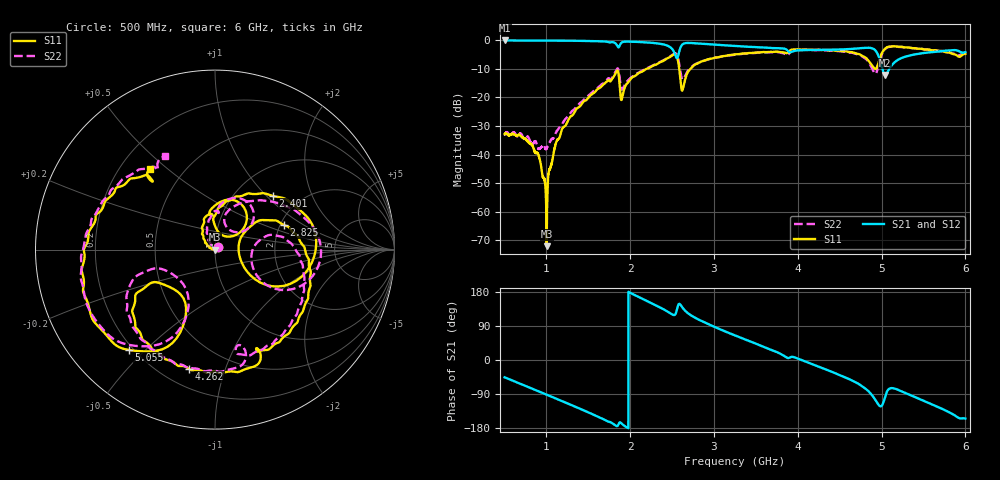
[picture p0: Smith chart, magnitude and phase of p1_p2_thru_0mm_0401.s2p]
# Hz S DB R 50
! CMT, C2409, 19096212, 19.2.3/2
! Date: 4/1/2022 3:39:34 AM
! Data: Format (Calibration Info)
! Freq	S11:dB/Ang(F2)	S21:dB/Ang(F2)	S12:dB/Ang(F2)	S22:dB/Ang(F2)
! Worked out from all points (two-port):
!   5001 points, 500 MHz to 6 GHz, reference 50 ohm
!   highest |S21| = -0.07 dB at 502 MHz (marker M1); lowest = -12.1 dB at 5.042 GHz (marker M2)
!   |S21| within 3 dB of the highest: start of sweep to 2.5 GHz; 2.593 GHz to 3.852 GHz (1.26 GHz wide, 39.1 % of centre)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
!   lowest |S11| = -72.1 dB at 1.003 GHz (marker M3), VSWR 1.00, Z = 50 + j0.0245 ohm
!   |S11| at or under -10 dB: start of sweep to 2.194 GHz; 2.585 GHz to 2.719 GHz (134.9 MHz wide, 5.09 % of centre); 4.918488 GHz to 4.93193 GHz (13.44 MHz wide, 0.273 % of centre)
!   |S22| runs from -38.1 to -2.2 dB; largest |S21 - S12| = 0.011
!   S11 on the Smith chart (normalised r, x): 500 MHz: 1.04, +0.03; 2.401 GHz: 1.48, +1.09; 2.825 GHz: 2.10, +0.69; 4.262 GHz: 0.31, -0.76; 5.055 GHz: 0.18, -0.45; 6 GHz: 0.33, +0.45
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5e8  -32.84 38.6  -0.08 -45.7  -0.07 -45.7  -33.04 48.7
5.019919e8  -32.81 38.9  -0.07 -45.9  -0.07 -45.9  -32.95 48.6
8.97002e8  -39.66 -4.3  -0.12 -81.9  -0.12 -81.9  -37.60 62.6
1.00263e9  -72.07 79.5  -0.13 -91.6  -0.13 -91.6  -37.82 98.6
1.028368e9  -45.75 169.4  -0.13 -94.0  -0.14 -94.0  -36.12 98.0
1.114587e9  -35.84 170.5  -0.14 -101.9  -0.15 -102.0  -32.20 117.8
1.416977e9  -22.48 138.4  -0.21 -130.3  -0.22 -130.4  -21.61 120.1
1.967047e9  -14.97 92.5  -0.47 -178.8  -0.50 -178.8  -14.24 73.7
2.333793e9  -8.05 51.9  -1.13 141.3  -1.16 141.3  -7.91 42.1
2.40085e9  -7.13 42.6  -1.49 133.4  -1.53 133.5  -6.94 33.7
2.539537e9  -5.04 -0.9  -5.38 121.3  -5.38 121.5  -4.58 -4.0
2.628132e9  -17.07 16.0  -1.35 136.8  -1.37 137.0  -13.74 -5.7
2.824512e9  -7.78 19.6  -1.16 105.7  -1.19 105.9  -7.73 6.5
3.251061e9  -4.94 -20.1  -2.00 64.8  -1.99 65.2  -5.00 -30.3
4.168149e9  -3.28 -94.6  -3.40 -10.8  -3.32 -10.3  -3.39 -102.3
4.262417e9  -3.35 -102.3  -3.37 -18.9  -3.31 -18.4  -3.47 -110.1
4.838315e9  -6.97 -151.5  -2.63 -81.2  -2.55 -81.1  -7.43 -162.2
5.042066e9  -2.96 -127.4  -12.13 -96.8  -12.04 -96.5  -3.09 -130.1
5.054611e9  -2.64 -130.7  -11.89 -88.3  -11.79 -88.1  -2.75 -134.0
5.084846e9  -2.28 -137.6  -10.41 -77.0  -10.35 -76.7  -2.36 -142.0
5.494754e9  -3.09 170.3  -4.51 -107.0  -4.41 -107.1  -3.14 163.8
6e9  -4.78 127.4  -4.13 -154.7  -4.04 -154.9  -4.58 117.0
